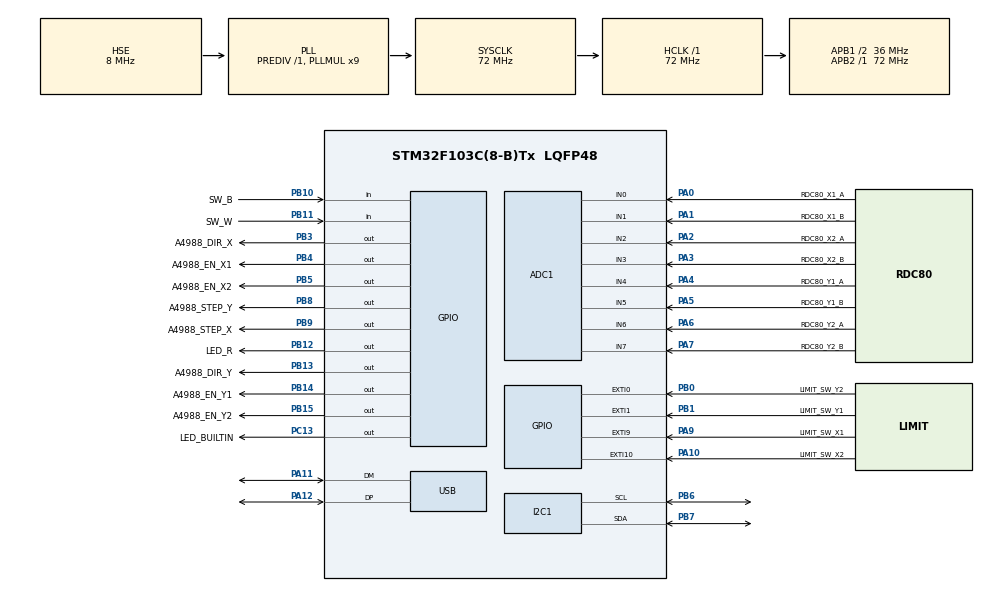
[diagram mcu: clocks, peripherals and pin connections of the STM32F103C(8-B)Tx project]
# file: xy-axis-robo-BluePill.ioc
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ADC1.Channel-0\#ChannelRegularConversion=ADC_CHANNEL_0
ADC1.ContinuousConvMode=ENABLE
ADC1.DataAlign=ADC_DATAALIGN_RIGHT
ADC1.ExternalTrigConv=ADC_EXTERNALTRIGCONV_T3_TRGO
ADC1.NbrOfConversionFlag=1
ADC1.Rank-0\#ChannelRegularConversion=1
ADC1.SamplingTime-0\#ChannelRegularConversion=ADC_SAMPLETIME_1CYCLE_5
ADC1.master=1
I2C1.NoStretchMode=I2C_NOSTRETCH_ENABLE
I2C1.OwnAddress=0x25
Mcu.Family=STM32F1
Mcu.Name=STM32F103C(8-B)Tx
Mcu.Package=LQFP48
NVIC.EXTI15_10_IRQn=true\:0\:0\:false\:false\:true\:true\:true
NVIC.EXTI9_5_IRQn=true\:0\:0\:false\:false\:true\:true\:true
NVIC.PriorityGroup=NVIC_PRIORITYGROUP_4
NVIC.TIM4_IRQn=true\:0\:0\:false\:false\:true\:true\:true
NVIC.USB_LP_CAN1_RX0_IRQn=true\:0\:0\:false\:false\:true\:false\:true
PA0-WKUP.GPIO_Label=RDC80_X1_A
PA0-WKUP.Signal=ADCx_IN0
PA1.GPIO_Label=RDC80_X1_B
PA1.Signal=ADCx_IN1
PA10.GPIO_Label=LIMIT_SW_X2
PA10.GPIO_PuPd=GPIO_PULLDOWN
PA10.Signal=GPXTI10
PA11.Mode=Device
PA11.Signal=USB_DM
PA12.Mode=Device
PA12.Signal=USB_DP
PA13.Mode=Serial_Wire
PA13.Signal=SYS_JTMS-SWDIO
PA14.Mode=Serial_Wire
PA14.Signal=SYS_JTCK-SWCLK
PA2.GPIO_Label=RDC80_X2_A
PA2.Signal=ADCx_IN2
PA3.GPIO_Label=RDC80_X2_B
PA3.Signal=ADCx_IN3
PA4.GPIO_Label=RDC80_Y1_A
PA4.Signal=ADCx_IN4
PA5.GPIO_Label=RDC80_Y1_B
PA5.Signal=ADCx_IN5
PA6.GPIO_Label=RDC80_Y2_A
PA6.Signal=ADCx_IN6
PA7.GPIO_Label=RDC80_Y2_B
PA7.Signal=ADCx_IN7
PA9.GPIO_Label=LIMIT_SW_X1
PA9.GPIO_ModeDefaultEXTI=GPIO_MODE_IT_RISING
PA9.GPIO_PuPd=GPIO_PULLDOWN
PA9.Signal=GPXTI9
PB0.GPIO_Label=LIMIT_SW_Y2
PB0.Signal=GPXTI0
PB1.GPIO_Label=LIMIT_SW_Y1
PB1.Signal=GPXTI1
PB10.GPIO_Label=SW_B
PB10.Signal=GPIO_Input
PB11.GPIO_Label=SW_W
PB11.Signal=GPIO_Input
PB12.GPIO_Label=LED_R
PB12.Signal=GPIO_Output
PB13.GPIO_Label=A4988_DIR_Y
PB13.Signal=GPIO_Output
PB14.GPIO_Label=A4988_EN_Y1
PB14.Signal=GPIO_Output
PB15.GPIO_Label=A4988_EN_Y2
PB15.Signal=GPIO_Output
PB3.GPIO_Label=A4988_DIR_X
PB3.Signal=GPIO_Output
PB4.GPIO_Label=A4988_EN_X1
PB4.Signal=GPIO_Output
PB5.GPIO_Label=A4988_EN_X2
PB5.Signal=GPIO_Output
PB6.Mode=I2C
PB6.Signal=I2C1_SCL
PB7.Mode=I2C
PB7.Signal=I2C1_SDA
PB8.GPIO_Label=A4988_STEP_Y
PB8.Signal=GPIO_Output
PB9.GPIO_Label=A4988_STEP_X
PB9.Signal=GPIO_Output
PC13-TAMPER-RTC.GPIO_Label=LED_BUILTIN
PC13-TAMPER-RTC.Signal=GPIO_Output
PD0-OSC_IN.Mode=HSE-External-Oscillator
PD0-OSC_IN.Signal=RCC_OSC_IN
PD1-OSC_OUT.Mode=HSE-External-Oscillator
PD1-OSC_OUT.Signal=RCC_OSC_OUT
ProjectManager.HeapSize=0x200
ProjectManager.StackSize=0x400
ProjectManager.TargetToolchain=STM32CubeIDE
RCC.ADCPresc=RCC_ADCPCLK2_DIV6
RCC.AHBFreq_Value=72000000
RCC.APB1CLKDivider=RCC_HCLK_DIV2
RCC.APB1Freq_Value=36000000
RCC.APB1TimFreq_Value=72000000
RCC.APB2Freq_Value=72000000
RCC.APB2TimFreq_Value=72000000
RCC.HCLKFreq_Value=72000000
RCC.PLLMUL=RCC_PLL_MUL9
RCC.PLLSourceVirtual=RCC_PLLSOURCE_HSE
RCC.SYSCLKFreq_VALUE=72000000
RCC.SYSCLKSource=RCC_SYSCLKSOURCE_PLLCLK
RCC.USBFreq_Value=48000000
RCC.USBPrescaler=RCC_USBCLKSOURCE_PLL_DIV1_5
SH.ADCx_IN0.0=ADC1_IN0,IN0
SH.ADCx_IN1.0=ADC1_IN1,IN1
SH.ADCx_IN2.0=ADC1_IN2,IN2
SH.ADCx_IN3.0=ADC1_IN3,IN3
SH.ADCx_IN4.0=ADC1_IN4,IN4
SH.ADCx_IN5.0=ADC1_IN5,IN5
SH.ADCx_IN6.0=ADC1_IN6,IN6
SH.ADCx_IN7.0=ADC1_IN7,IN7
TIM3.AutoReloadPreload=TIM_AUTORELOAD_PRELOAD_ENABLE
TIM3.Period=360-1
TIM3.Prescaler=200-1
TIM3.TIM_MasterOutputTrigger=TIM_TRGO_UPDATE
TIM4.AutoReloadPreload=TIM_AUTORELOAD_PRELOAD_ENABLE
TIM4.CounterMode=TIM_COUNTERMODE_UP
TIM4.Period=200-1
TIM4.Prescaler=360-1
USB_DEVICE.CLASS_NAME_FS=CDC
USB_DEVICE.VirtualMode=Cdc
USB_DEVICE.VirtualModeFS=Cdc_FS
VP_TIM3_VS_ClockSourceINT.Mode=Internal
VP_TIM4_VS_ClockSourceINT.Mode=Internal
VP_USB_DEVICE_VS_USB_DEVICE_CDC_FS.Mode=CDC_FS
board=custom

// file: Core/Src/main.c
/* USER CODE BEGIN Header */
/**
 ******************************************************************************
 * @file           : main.c
 * @brief          : Main program body
 ******************************************************************************
 * @attention
 *
 * <h2><center>&copy; Copyright (c) 2020 STMicroelectronics.
 * All rights reserved.</center></h2>
 *
 * This software component is licensed by ST under BSD 3-Clause license,
 * the "License"; You may not use this file except in compliance with the
 * License. You may obtain a copy of the License at:
 *                        opensource.org/licenses/BSD-3-Clause
 *
 ******************************************************************************
 */
/* USER CODE END Header */
#include "main.h"

/* USER CODE BEGIN PD */
#define MOTOR_ROTATE_PULSE 200
#define I2C_OWN_ADDR 0x25<<1
/* USER CODE END PD */

ADC_HandleTypeDef hadc1;

I2C_HandleTypeDef hi2c1;

TIM_HandleTypeDef htim3;
TIM_HandleTypeDef htim4;

/* USER CODE BEGIN PV */
uint32_t on_time;
uint32_t off_time;
uint32_t adc_val;

//timer4用(A4988のSTEPパルス用変数)
volatile int pulse_cnt_x1 = 0;
volatile int pulse_cnt_x2 = 0;
volatile int pulse_cnt_y1 = 0;
volatile int pulse_cnt_y2 = 0;

/* USER CODE END PV */

void SystemClock_Config(void);
static void MX_GPIO_Init(void);
static void MX_ADC1_Init(void);
static void MX_TIM4_Init(void);
static void MX_I2C1_Init(void);
static void MX_TIM3_Init(void);

int main(void)
{

  /* MCU Configuration--------------------------------------------------------*/

  /* Reset of all peripherals, Initializes the Flash interface and the Systick. */
  HAL_Init();

  /* Configure the system clock */
  SystemClock_Config();

  /* Initialize all configured peripherals */
  MX_GPIO_Init();
  MX_ADC1_Init();
  MX_TIM4_Init();
  MX_I2C1_Init();
  MX_TIM3_Init();
  /* USER CODE BEGIN 2 */
	HAL_ADC_Start(&hadc1);
	adc_val = 0;

	//A4988 EN PIN initialize => 1:HIGH (Motor power OFF)
	HAL_GPIO_WritePin(A4988_EN_X1_GPIO_Port, A4988_EN_X1_Pin, 1);
	HAL_GPIO_WritePin(A4988_EN_X2_GPIO_Port, A4988_EN_X2_Pin, 1);
	HAL_GPIO_WritePin(A4988_EN_Y1_GPIO_Port, A4988_EN_Y1_Pin, 1);
	HAL_GPIO_WritePin(A4988_EN_Y2_GPIO_Port, A4988_EN_Y2_Pin, 1);
	//A4988 DIR PIN initialize => 0
	HAL_GPIO_WritePin(A4988_DIR_X_GPIO_Port, A4988_DIR_X_Pin, 0);
	HAL_GPIO_WritePin(A4988_DIR_Y_GPIO_Port, A4988_DIR_Y_Pin, 0);
	//A4988 STEP PIN initialize => 1
	HAL_GPIO_WritePin(A4988_STEP_X_GPIO_Port, A4988_STEP_X_Pin, 1);
	HAL_GPIO_WritePin(A4988_STEP_Y_GPIO_Port, A4988_STEP_Y_Pin, 1);

	//TIM4の有効化(A4988用の100Hzタイマー割り込み)
	HAL_TIM_Base_Start_IT(&htim4);
  /* USER CODE END 2 */

  /* Infinite loop */
  /* USER CODE BEGIN WHILE */
	//Enable motors
//	HAL_GPIO_WritePin(A4988_EN_X1_GPIO_Port, A4988_EN_X1_Pin, 0);
//	HAL_GPIO_WritePin(A4988_EN_X2_GPIO_Port, A4988_EN_X2_Pin, 0);
//	HAL_GPIO_WritePin(A4988_EN_Y1_GPIO_Port, A4988_EN_Y1_Pin, 0);
//	HAL_GPIO_WritePin(A4988_EN_Y2_GPIO_Port, A4988_EN_Y2_Pin, 0);

	//Enable x motor pwm
	//ToDo:PWMモードを使わずに、タイマー割り込みぶん回してPWMを管理する。50Hzなので、20msくらいのパルスをメインで数えればよくね？
	uint8_t rx_buff[1] = {0};
	while (1) {
		//ADC読み込み
//		HAL_ADC_PollForConversion(&hadc1, 100);
//		adc_val = HAL_ADC_GetValue(&hadc1);
		while(HAL_I2C_Slave_Receive(&hi2c1, rx_buff, 1, 1000) != HAL_OK){
			//受信していない
		}
		//受信した
		HAL_GPIO_TogglePin(LED_BUILTIN_GPIO_Port, LED_BUILTIN_Pin);

    /* USER CODE END WHILE */

	}
}

void SystemClock_Config(void)
{
  RCC_OscInitTypeDef RCC_OscInitStruct = {0};
  RCC_ClkInitTypeDef RCC_ClkInitStruct = {0};
  RCC_PeriphCLKInitTypeDef PeriphClkInit = {0};

  /** Initializes the RCC Oscillators according to the specified parameters
  * in the RCC_OscInitTypeDef structure.
  */
  RCC_OscInitStruct.OscillatorType = RCC_OSCILLATORTYPE_HSE;
  RCC_OscInitStruct.HSEState = RCC_HSE_ON;
  RCC_OscInitStruct.HSEPredivValue = RCC_HSE_PREDIV_DIV1;
  RCC_OscInitStruct.HSIState = RCC_HSI_ON;
  RCC_OscInitStruct.PLL.PLLState = RCC_PLL_ON;
  RCC_OscInitStruct.PLL.PLLSource = RCC_PLLSOURCE_HSE;
  RCC_OscInitStruct.PLL.PLLMUL = RCC_PLL_MUL9;
  if (HAL_RCC_OscConfig(&RCC_OscInitStruct) != HAL_OK)
  {
    Error_Handler();
  }
  /** Initializes the CPU, AHB and APB buses clocks
  */
  RCC_ClkInitStruct.ClockType = RCC_CLOCKTYPE_HCLK|RCC_CLOCKTYPE_SYSCLK
                              |RCC_CLOCKTYPE_PCLK1|RCC_CLOCKTYPE_PCLK2;
  RCC_ClkInitStruct.SYSCLKSource = RCC_SYSCLKSOURCE_PLLCLK;
  RCC_ClkInitStruct.AHBCLKDivider = RCC_SYSCLK_DIV1;
  RCC_ClkInitStruct.APB1CLKDivider = RCC_HCLK_DIV2;
  RCC_ClkInitStruct.APB2CLKDivider = RCC_HCLK_DIV1;

  if (HAL_RCC_ClockConfig(&RCC_ClkInitStruct, FLASH_LATENCY_2) != HAL_OK)
  {
    Error_Handler();
  }
  PeriphClkInit.PeriphClockSelection = RCC_PERIPHCLK_ADC;
  PeriphClkInit.AdcClockSelection = RCC_ADCPCLK2_DIV6;
  if (HAL_RCCEx_PeriphCLKConfig(&PeriphClkInit) != HAL_OK)
  {
    Error_Handler();
  }
}

static void MX_ADC1_Init(void)
{

  ADC_ChannelConfTypeDef sConfig = {0};

  /** Common config
  */
  hadc1.Instance = ADC1;
  hadc1.Init.ScanConvMode = ADC_SCAN_DISABLE;
  hadc1.Init.ContinuousConvMode = ENABLE;
  hadc1.Init.DiscontinuousConvMode = DISABLE;
  hadc1.Init.ExternalTrigConv = ADC_EXTERNALTRIGCONV_T3_TRGO;
  hadc1.Init.DataAlign = ADC_DATAALIGN_RIGHT;
  hadc1.Init.NbrOfConversion = 1;
  if (HAL_ADC_Init(&hadc1) != HAL_OK)
  {
    Error_Handler();
  }
  /** Configure Regular Channel
  */
  sConfig.Channel = ADC_CHANNEL_0;
  sConfig.Rank = ADC_REGULAR_RANK_1;
  sConfig.SamplingTime = ADC_SAMPLETIME_1CYCLE_5;
  if (HAL_ADC_ConfigChannel(&hadc1, &sConfig) != HAL_OK)
  {
    Error_Handler();
  }

}

static void MX_I2C1_Init(void)
{

  hi2c1.Instance = I2C1;
  hi2c1.Init.ClockSpeed = 100000;
  hi2c1.Init.DutyCycle = I2C_DUTYCYCLE_2;
  hi2c1.Init.OwnAddress1 = 74;
  hi2c1.Init.AddressingMode = I2C_ADDRESSINGMODE_7BIT;
  hi2c1.Init.DualAddressMode = I2C_DUALADDRESS_DISABLE;
  hi2c1.Init.OwnAddress2 = 0;
  hi2c1.Init.GeneralCallMode = I2C_GENERALCALL_DISABLE;
  hi2c1.Init.NoStretchMode = I2C_NOSTRETCH_ENABLE;
  if (HAL_I2C_Init(&hi2c1) != HAL_OK)
  {
    Error_Handler();
  }

}

static void MX_TIM3_Init(void)
{

  TIM_ClockConfigTypeDef sClockSourceConfig = {0};
  TIM_MasterConfigTypeDef sMasterConfig = {0};

  htim3.Instance = TIM3;
  htim3.Init.Prescaler = 200-1;
  htim3.Init.CounterMode = TIM_COUNTERMODE_UP;
  htim3.Init.Period = 360-1;
  htim3.Init.ClockDivision = TIM_CLOCKDIVISION_DIV1;
  htim3.Init.AutoReloadPreload = TIM_AUTORELOAD_PRELOAD_ENABLE;
  if (HAL_TIM_Base_Init(&htim3) != HAL_OK)
  {
    Error_Handler();
  }
  sClockSourceConfig.ClockSource = TIM_CLOCKSOURCE_INTERNAL;
  if (HAL_TIM_ConfigClockSource(&htim3, &sClockSourceConfig) != HAL_OK)
  {
    Error_Handler();
  }
  sMasterConfig.MasterOutputTrigger = TIM_TRGO_UPDATE;
  sMasterConfig.MasterSlaveMode = TIM_MASTERSLAVEMODE_DISABLE;
  if (HAL_TIMEx_MasterConfigSynchronization(&htim3, &sMasterConfig) != HAL_OK)
  {
    Error_Handler();
  }

}

static void MX_TIM4_Init(void)
{

  TIM_ClockConfigTypeDef sClockSourceConfig = {0};
  TIM_MasterConfigTypeDef sMasterConfig = {0};

  htim4.Instance = TIM4;
  htim4.Init.Prescaler = 3600-1;
  htim4.Init.CounterMode = TIM_COUNTERMODE_UP;
  htim4.Init.Period = 200-1;
  htim4.Init.ClockDivision = TIM_CLOCKDIVISION_DIV1;
  htim4.Init.AutoReloadPreload = TIM_AUTORELOAD_PRELOAD_ENABLE;
  if (HAL_TIM_Base_Init(&htim4) != HAL_OK)
  {
    Error_Handler();
  }
  sClockSourceConfig.ClockSource = TIM_CLOCKSOURCE_INTERNAL;
  if (HAL_TIM_ConfigClockSource(&htim4, &sClockSourceConfig) != HAL_OK)
  {
    Error_Handler();
  }
  sMasterConfig.MasterOutputTrigger = TIM_TRGO_RESET;
  sMasterConfig.MasterSlaveMode = TIM_MASTERSLAVEMODE_DISABLE;
  if (HAL_TIMEx_MasterConfigSynchronization(&htim4, &sMasterConfig) != HAL_OK)
  {
    Error_Handler();
  }

}

static void MX_GPIO_Init(void)
{
  GPIO_InitTypeDef GPIO_InitStruct = {0};

  /* GPIO Ports Clock Enable */
  __HAL_RCC_GPIOC_CLK_ENABLE();
  __HAL_RCC_GPIOD_CLK_ENABLE();
  __HAL_RCC_GPIOA_CLK_ENABLE();
  __HAL_RCC_GPIOB_CLK_ENABLE();

  /*Configure GPIO pin Output Level */
  HAL_GPIO_WritePin(LED_BUILTIN_GPIO_Port, LED_BUILTIN_Pin, GPIO_PIN_RESET);

  /*Configure GPIO pin Output Level */
  HAL_GPIO_WritePin(GPIOB, A4988_DIR_Y_Pin|A4988_EN_Y1_Pin|A4988_EN_Y2_Pin|A4988_DIR_X_Pin
                          |A4988_EN_X1_Pin|A4988_EN_X2_Pin|A4988_STEP_Y_Pin|A4988_STEP_X_Pin, GPIO_PIN_RESET);

  /*Configure GPIO pin : LED_BUILTIN_Pin */
  GPIO_InitStruct.Pin = LED_BUILTIN_Pin;
  GPIO_InitStruct.Mode = GPIO_MODE_OUTPUT_PP;
  GPIO_InitStruct.Pull = GPIO_NOPULL;
  GPIO_InitStruct.Speed = GPIO_SPEED_FREQ_LOW;
  HAL_GPIO_Init(LED_BUILTIN_GPIO_Port, &GPIO_InitStruct);

  /*Configure GPIO pins : A4988_DIR_Y_Pin A4988_EN_Y1_Pin A4988_EN_Y2_Pin A4988_DIR_X_Pin
                           A4988_EN_X1_Pin A4988_EN_X2_Pin A4988_STEP_Y_Pin A4988_STEP_X_Pin */
  GPIO_InitStruct.Pin = A4988_DIR_Y_Pin|A4988_EN_Y1_Pin|A4988_EN_Y2_Pin|A4988_DIR_X_Pin
                          |A4988_EN_X1_Pin|A4988_EN_X2_Pin|A4988_STEP_Y_Pin|A4988_STEP_X_Pin;
  GPIO_InitStruct.Mode = GPIO_MODE_OUTPUT_PP;
  GPIO_InitStruct.Pull = GPIO_NOPULL;
  GPIO_InitStruct.Speed = GPIO_SPEED_FREQ_LOW;
  HAL_GPIO_Init(GPIOB, &GPIO_InitStruct);

  /*Configure GPIO pins : LIMIT_SW_X1_Pin LIMIT_SW_X2_Pin LIMIT_SW_Y1_Pin LIMIT_SW_Y2_Pin */
  GPIO_InitStruct.Pin = LIMIT_SW_X1_Pin|LIMIT_SW_X2_Pin|LIMIT_SW_Y1_Pin|LIMIT_SW_Y2_Pin;
  GPIO_InitStruct.Mode = GPIO_MODE_IT_RISING;
  GPIO_InitStruct.Pull = GPIO_PULLDOWN;
  HAL_GPIO_Init(GPIOA, &GPIO_InitStruct);

  /* EXTI interrupt init*/
  HAL_NVIC_SetPriority(EXTI9_5_IRQn, 0, 0);
  HAL_NVIC_EnableIRQ(EXTI9_5_IRQn);

  HAL_NVIC_SetPriority(EXTI15_10_IRQn, 0, 0);
  HAL_NVIC_EnableIRQ(EXTI15_10_IRQn);

}

/* USER CODE BEGIN 4 */
void HAL_TIM_PeriodElapsedCallback(TIM_HandleTypeDef *htim) {
	//タイマー割り込み用のコールバック関数。
	if (htim == &htim4) {
		//timer(100Hz)
		HAL_GPIO_TogglePin(A4988_STEP_X_GPIO_Port, A4988_STEP_X_Pin);
		HAL_GPIO_TogglePin(A4988_STEP_Y_GPIO_Port, A4988_STEP_Y_Pin);
		if (HAL_GPIO_ReadPin(A4988_EN_X1_GPIO_Port, A4988_EN_X1_Pin) == 0) {
			pulse_cnt_x1++;
			if (pulse_cnt_x1 >= MOTOR_ROTATE_PULSE * 2) {
				//1回転した時offにする。
				HAL_GPIO_WritePin(A4988_EN_X1_GPIO_Port, A4988_EN_X1_Pin, 1);
			}
		}
		if (HAL_GPIO_ReadPin(A4988_EN_X2_GPIO_Port, A4988_EN_X2_Pin) == 0) {
			pulse_cnt_x2++;
			if (pulse_cnt_x2 >= MOTOR_ROTATE_PULSE * 2) {
				//1回転した時offにする。
				HAL_GPIO_WritePin(A4988_EN_X2_GPIO_Port, A4988_EN_X2_Pin, 1);
			}
		}
		if (HAL_GPIO_ReadPin(A4988_EN_Y1_GPIO_Port, A4988_EN_Y1_Pin) == 0) {
			pulse_cnt_y1++;
			if (pulse_cnt_y1 >= MOTOR_ROTATE_PULSE * 2) {
				//1回転した時offにする。
				HAL_GPIO_WritePin(A4988_EN_Y1_GPIO_Port, A4988_EN_Y1_Pin, 1);
			}
		}
		if (HAL_GPIO_ReadPin(A4988_EN_Y2_GPIO_Port, A4988_EN_Y2_Pin) == 0) {
			pulse_cnt_y2++;
			if (pulse_cnt_y2 >= MOTOR_ROTATE_PULSE * 2) {
				//1回転した時offにする。
				HAL_GPIO_WritePin(A4988_EN_Y2_GPIO_Port, A4988_EN_Y2_Pin, 1);
			}
		}
	}
}

void HAL_GPIO_EXTI_Callback(uint16_t GPIO_Pin) {
	//ToDo スイッチ回路のLEDが、常時微点灯する。(Y1,Y2)
	//対策案1:おそらく点灯用抵抗が大きすぎる？ので抵抗を少し小さくする。
	//対策案2:並列にブリーダ抵抗を接続する。

	//ToDo リミットスイッチ用のプログラムをここに書く。
	if (GPIO_Pin == LIMIT_SW_X1_Pin) {
	}
	if (GPIO_Pin == LIMIT_SW_X2_Pin) {
	}

	if (GPIO_Pin == LIMIT_SW_Y1_Pin) {
	}
	if (GPIO_Pin == LIMIT_SW_Y2_Pin) {
	}
}
/* USER CODE END 4 */

void Error_Handler(void)
{
}

/************************ (C) COPYRIGHT STMicroelectronics *****END OF FILE****/
